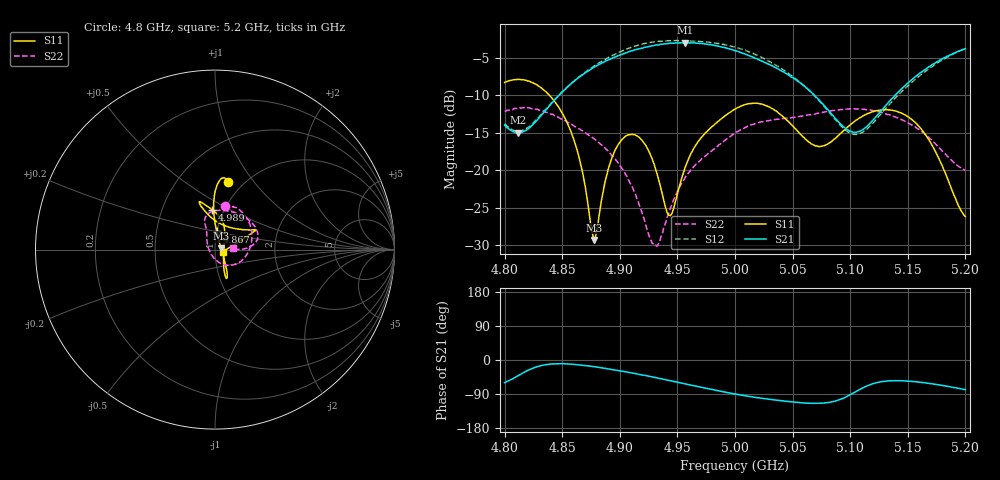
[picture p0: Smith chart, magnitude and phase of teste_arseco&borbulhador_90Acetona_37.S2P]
! Network Analyzer HP8722D
! Hewlett-Packard
! Data name: Linha & Wilkinson
! Saver's name: Rodrigo Anjos
! Comments: Teste da utilização de aquisição
! continua pelo VNA HP8722D
! Time and date: 17/4/2025 11:21
!  Frequency  S11  S21  S12  S22
# HZ  S  MA R 50
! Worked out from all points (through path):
!   401 points, 4.8 GHz to 5.2 GHz, reference 50 ohm
!   highest |S21| = -2.99 dB at 4.957 GHz (marker M1); lowest = -15.0 dB at 4.812 GHz (marker M2)
!   lowest |S11| = -29.3 dB at 4.878 GHz (marker M3), VSWR 1.07, Z = 53.4 + j0.869 ohm
!   |S11| at or under -10 dB: 4.839 GHz to end of sweep
!   |S22| runs from -30.1 to -11.6 dB; largest |S21 - S12| = 1.4
!   S11 on the Smith chart (normalised r, x): 4.8 GHz: 0.85, +0.75; 4.867 GHz: 1.00, +0.20; 4.989 GHz: 0.88, +0.41; 5.2 GHz: 1.10, -0.03
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4.8e9  0.3848 79.4  0.2 -59.7  0.2043 75.4  0.2471 77.3
4.812e9  0.4037 82.9  0.1777 -40.9  0.1822 92.4  0.2578 67.2
4.845e9  0.2766 91.4  0.3031 -9.8  0.3051 123.0  0.2288 27.2
4.858e9  0.1773 91.1  0.3795 -10.9  0.3796 123.9  0.2024 8.2
4.867e9  0.1018 84.5  0.4288 -13.6  0.4326 123.1  0.1841 -5.3
4.878e9  0.03426 13.7  0.4889 -17.8  0.4976 120.7  0.1616 -22.2
4.891e9  0.108 -56.5  0.5475 -24.0  0.5689 116.4  0.1307 -40.6
4.904e9  0.1662 -65.8  0.6007 -30.6  0.6324 111.2  0.09753 -59.2
4.92e9  0.1557 -68.8  0.651 -40.0  0.6968 102.4  0.04971 -93.8
4.928e9  0.1198 -65.3  0.676 -44.6  0.7143 97.5  0.03267 -133.3
4.934e9  0.08506 -56.0  0.6853 -48.6  0.7252 93.6  0.03293 -177.3
4.944e9  0.04986 2.7  0.7033 -54.7  0.7302 87.2  0.0562 140.8
4.957e9  0.106 59.2  0.7089 -63.0  0.7284 78.8  0.09032 120.9
4.969e9  0.1587 74.0  0.6998 -70.7  0.7228 71.1  0.1148 114.0
4.989e9  0.2231 94.1  0.661 -83.3  0.691 58.1  0.1531 111.6
5e9  0.2558 102.5  0.6271 -89.8  0.663 51.1  0.1765 109.0
5.029e9  0.2655 108.3  0.5108 -103.4  0.5358 35.4  0.2139 92.5
5.067e9  0.1494 80.3  0.3266 -114.2  0.3242 26.4  0.2361 58.8
5.103e9  0.2093 31.7  0.1788 -86.9  0.1736 57.2  0.2571 26.9
5.134e9  0.2526 25.6  0.2873 -55.0  0.2745 91.1  0.2343 11.0
5.164e9  0.1785 21.2  0.4645 -59.8  0.4485 87.8  0.1763 2.6
5.2e9  0.04924 -16.9  0.6453 -78.3  0.6476 70.7  0.09977 4.8
